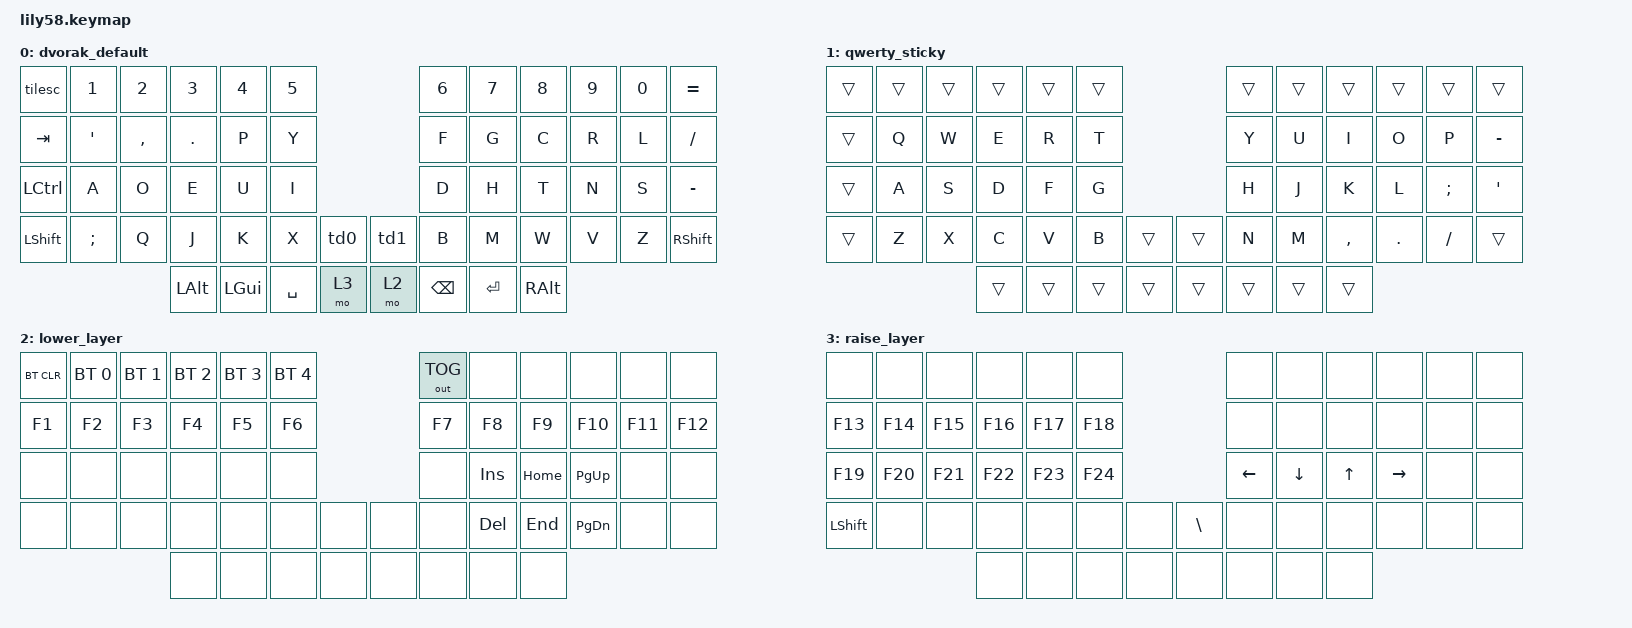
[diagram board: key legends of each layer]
#include <behaviors.dtsi>
#include <dt-bindings/zmk/bt.h>
#include <dt-bindings/zmk/keys.h>

/ {
    behaviors {
        td0: tap_dance_0 {
            compatible = "zmk,behavior-tap-dance";
            label = "TAP_DANCE_0";
            #binding-cells = <0>;
            tapping-term-ms = <200>;
            bindings = <&kp LBKT>, <&kp LBRC>, <&kp C_PREV>;
        };

        td1: tap_dance_1 {
            compatible = "zmk,behavior-tap-dance";
            label = "TAP_DANCE_1";
            #binding-cells = <0>;
            tapping-term-ms = <200>;
            bindings = <&kp RBKT>, <&kp RBRC>, <&kp C_NEXT>;
        };

        tilesc: tilde_escape {
            compatible = "zmk,behavior-mod-morph";
            label = "TILDE_ESCAPE";
            #binding-cells = <0>;
            bindings = <&kp ESC>, <&kp TILDE>;

            mods = <(MOD_LSFT|MOD_RSFT)>;
        };
    };

    combos {
        compatible = "zmk,combos";

        toggle_qwerty {
            bindings = <&tog 1>;
            key-positions = <42 43>;
        };
    };

    keymap {
        compatible = "zmk,keymap";

        dvorak_default {
            bindings = <
&tilesc    &kp N1    &kp N2     &kp N3    &kp N4    &kp N5                   &kp N6         &kp N7     &kp N8    &kp N9  &kp N0  &kp EQUAL
&kp TAB    &kp SQT   &kp COMMA  &kp DOT   &kp P     &kp Y                    &kp F          &kp G      &kp C     &kp R   &kp L   &kp FSLH
&kp LCTRL  &kp A     &kp O      &kp E     &kp U     &kp I                    &kp D          &kp H      &kp T     &kp N   &kp S   &kp MINUS
&kp LSHFT  &kp SEMI  &kp Q      &kp J     &kp K     &kp X      &td0   &td1   &kp B          &kp M      &kp W     &kp V   &kp Z   &kp RSHIFT
                                &kp LALT  &kp LGUI  &kp SPACE  &mo 3  &mo 2  &kp BACKSPACE  &kp ENTER  &kp RALT
            >;
        };

        qwerty_sticky {
            bindings = <
&trans  &trans  &trans  &trans  &trans  &trans                  &trans  &trans  &trans     &trans   &trans    &trans
&trans  &kp Q   &kp W   &kp E   &kp R   &kp T                   &kp Y   &kp U   &kp I      &kp O    &kp P     &kp MINUS
&trans  &kp A   &kp S   &kp D   &kp F   &kp G                   &kp H   &kp J   &kp K      &kp L    &kp SEMI  &kp SQT
&trans  &kp Z   &kp X   &kp C   &kp V   &kp B   &trans  &trans  &kp N   &kp M   &kp COMMA  &kp DOT  &kp FSLH  &trans
                        &trans  &trans  &trans  &trans  &trans  &trans  &trans  &trans
            >;
        };

        lower_layer {
            bindings = <
&bt BT_CLR  &bt BT_SEL 0  &bt BT_SEL 1  &bt BT_SEL 2  &bt BT_SEL 3  &bt BT_SEL 4                &out OUT_TOG   &none       &none     &none          &none    &none
&kp F1      &kp F2        &kp F3        &kp F4        &kp F5        &kp F6                      &kp F7  &kp F8      &kp F9    &kp F10        &kp F11  &kp F12
&none       &none         &none         &none         &none         &none                       &none   &kp INSERT  &kp HOME  &kp PAGE_UP    &none    &none
&none       &none         &none         &none         &none         &none         &none  &none  &none   &kp DELETE  &kp END   &kp PAGE_DOWN  &none    &none
                                        &none         &none         &none         &none  &none  &none   &none       &none
            >;
        };

        raise_layer {
            bindings = <
&none           &none    &none    &none    &none    &none                     &none     &none     &none   &none      &none  &none
&kp F13         &kp F14  &kp F15  &kp F16  &kp F17  &kp F18                   &none     &none     &none   &none      &none  &none
&kp F19         &kp F20  &kp F21  &kp F22  &kp F23  &kp F24                   &kp LEFT  &kp DOWN  &kp UP  &kp RIGHT  &none  &none
&kp LEFT_SHIFT  &none    &none    &none    &none    &none    &none  &kp BSLH  &none     &none     &none   &none      &none  &none
                                  &none    &none    &none    &none  &none     &none     &none     &none
            >;
        };
    };
};
